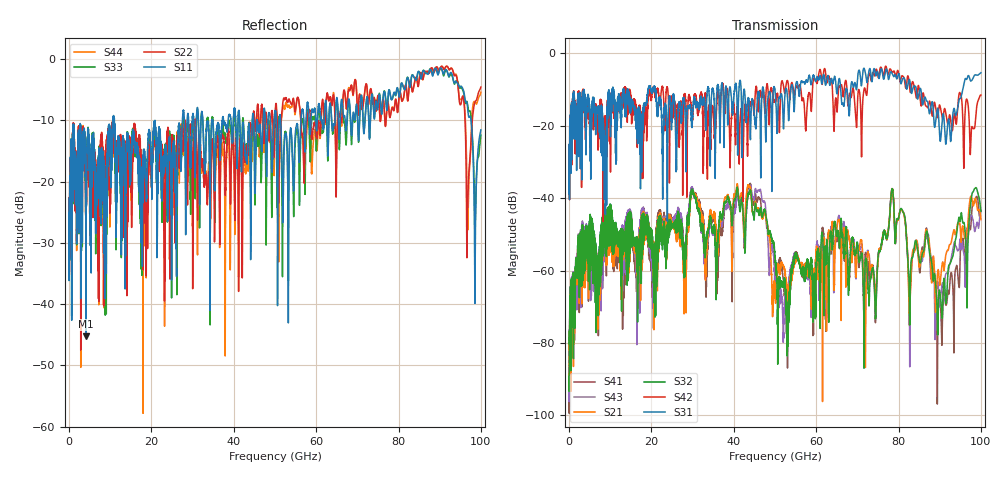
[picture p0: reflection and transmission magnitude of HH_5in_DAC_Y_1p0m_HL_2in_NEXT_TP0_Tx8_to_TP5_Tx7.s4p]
# GHz S RI R 45
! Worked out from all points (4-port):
!   4000 points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, 25 MHz to 100 GHz, reference 45 ohm
!   strongest paths, dB at 25 MHz, 25.02 GHz, 50.02 GHz, 75.03 GHz, 100 GHz:
!     S31: -38.8, -15.8, -10.6, -5.5, -5.3
!     S42: -38.8, -15.0, -12.9, -6.4, -11.5
!     S32: -89.2, -47.0, -55.9, -56.5, -43.6
!     S21: -88.8, -47.2, -63.8, -57.5, -45.9
!     S43: -87.2, -46.4, -64.4, -57.5, -43.6
!     S41: -88.1, -45.6, -57.7, -56.4, -43.4
!   lowest |S11| = -45.2 dB at 4.125 GHz (marker M1), VSWR 1.01, Z = 45.3 + j0.381 ohm
!   |S11| at or under -10 dB: start of sweep to 10.65 GHz; 11.01 GHz to 20.85 GHz (9.842 GHz wide, 61.8 % of centre); 20.85 GHz to 27.52 GHz (6.667 GHz wide, 27.6 % of centre) (the widest 3 of 42)
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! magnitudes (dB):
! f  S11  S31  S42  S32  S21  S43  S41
! 25 MHz  -25.2  -38.8  -38.8  -89.2  -88.8  -87.2  -88.1
! 4.125 GHz  -45.2  -28.0  -22.9  -50.6  -53.1  -49.3  -51.7
! 46.15 GHz  -11.7  -11.2  -13.1  -44.8  -43.9  -38.0  -40.1
! 52.4 GHz  -12.8  -11.8  -10.9  -63.0  -60.7  -66.9  -66.7
! 78.42 GHz  -6.6  -5.5  -5.1  -37.4  -37.3  -37.4  -37.4
! 90.38 GHz  -1.5  -22.0  -16.3  -69.5  -60.3  -65.5  -74.5
! 100 GHz  -11.5  -5.3  -11.5  -43.6  -45.9  -43.6  -43.4
